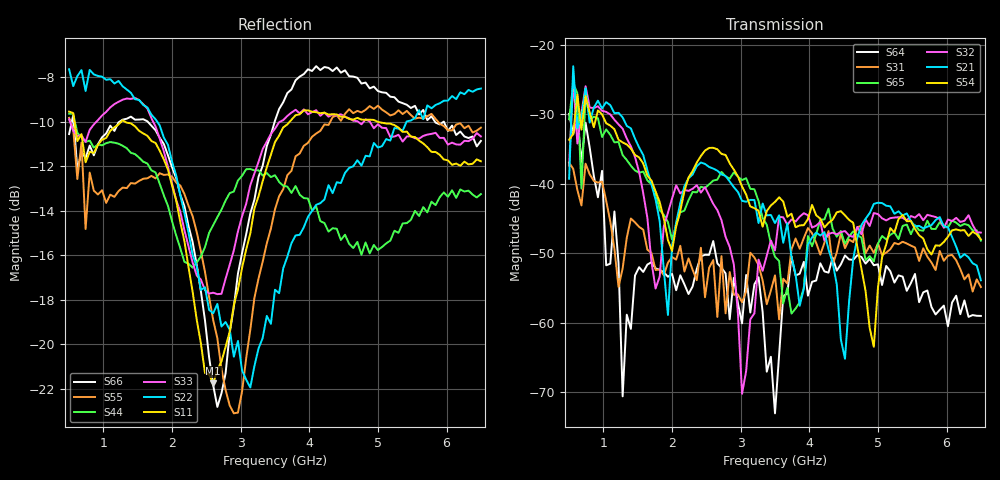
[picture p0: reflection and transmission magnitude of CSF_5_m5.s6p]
!Keysight Technologies,M9804A,MY58100912,A.14.10.03
!Date: Thursday, April 27, 2023 10:28:33
!Correction: S11(C  6-Port  )
!S12(C  6-Port  )
!S13(C  6-Port  )
!S14(C  6-Port  )
!S15(C  6-Port  )
!S16(C  6-Port  )
!S21(C  6-Port  )
!S22(C  6-Port  )
!S23(C  6-Port  )
!S24(C  6-Port  )
!S25(C  6-Port  )
!S26(C  6-Port  )
!S31(C  6-Port  )
!S32(C  6-Port  )
!S33(C  6-Port  )
!S34(C  6-Port  )
!S35(C  6-Port  )
!S36(C  6-Port  )
!S41(C  6-Port  )
!S42(C  6-Port  )
!S43(C  6-Port  )
!S44(C  6-Port  )
!S45(C  6-Port  )
!S46(C  6-Port  )
!S51(C  6-Port  )
!S52(C  6-Port  )
!S53(C  6-Port  )
!S54(C  6-Port  )
!S55(C  6-Port  )
!S56(C  6-Port  )
!S61(C  6-Port  )
!S62(C  6-Port  )
!S63(C  6-Port  )
!S64(C  6-Port  )
!S65(C  6-Port  )
!S66(C  6-Port  )
!S6P File: Measurement: :
# Hz S  RI  R 50
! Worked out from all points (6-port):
!   101 points, 500 MHz to 6.5 GHz, reference 50 ohm
!   strongest paths, dB at 500 MHz, 2 GHz, 3.5 GHz, 5 GHz, 6.5 GHz:
!     S54: -33.6, -49.6, -42.6, -54.9, -48.0
!     S21: -39.3, -48.8, -45.6, -42.7, -53.9
!     S32: -37.4, -42.1, -49.6, -44.3, -47.0
!     S65: -30.7, -48.0, -50.5, -48.6, -48.2
!     S31: -36.9, -50.5, -53.1, -48.6, -54.8
!     S64: -29.9, -52.9, -73.0, -51.6, -59.0
!   lowest |S11| = -21.8 dB at 2.6 GHz (marker M1), VSWR 1.18, Z = 42.7 + j1.99 ohm
!   |S11| at or under -10 dB: 578.7 MHz to 1.259 GHz (679.9 MHz wide, 74 % of centre); 1.317 GHz to 3.713 GHz (2.396 GHz wide, 95.3 % of centre); 4.996 GHz to end of sweep
